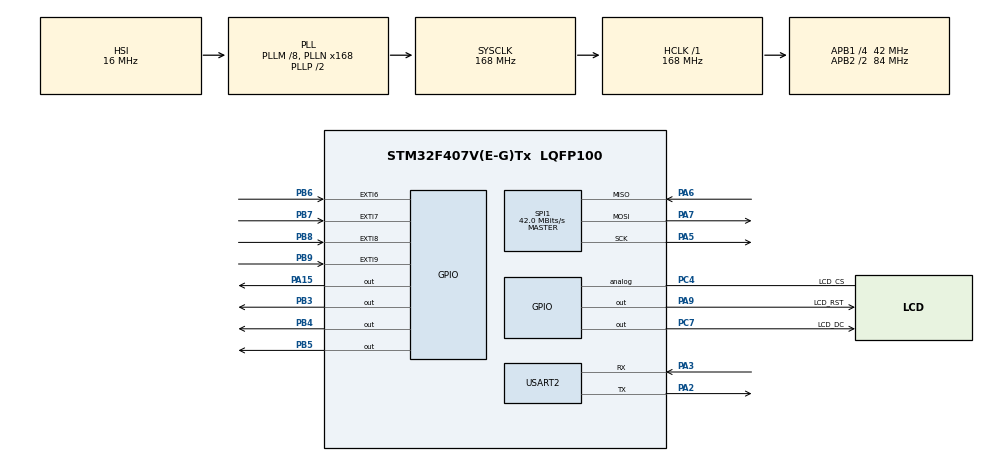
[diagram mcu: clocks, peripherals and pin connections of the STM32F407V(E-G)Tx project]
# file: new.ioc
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Mcu.Family=STM32F4
Mcu.Name=STM32F407V(E-G)Tx
Mcu.Package=LQFP100
NVIC.EXTI9_5_IRQn=true\:0\:0\:false\:false\:true\:true\:true\:true
NVIC.PriorityGroup=NVIC_PRIORITYGROUP_4
PA15.Signal=GPIO_Output
PA2.Mode=Asynchronous
PA2.Signal=USART2_TX
PA3.Mode=Asynchronous
PA3.Signal=USART2_RX
PA5.Mode=Full_Duplex_Master
PA5.Signal=SPI1_SCK
PA6.Mode=Full_Duplex_Master
PA6.Signal=SPI1_MISO
PA7.Mode=Full_Duplex_Master
PA7.Signal=SPI1_MOSI
PA9.GPIO_Label=LCD_RST
PA9.Signal=GPIO_Output
PB3.Signal=GPIO_Output
PB4.Signal=GPIO_Output
PB5.Signal=GPIO_Output
PB6.Signal=GPXTI6
PB7.Signal=GPXTI7
PB8.Signal=GPXTI8
PB9.Signal=GPXTI9
PC4.GPIO_Label=LCD_CS
PC4.Signal=GPIO_Analog
PC7.GPIO_Label=LCD_DC
PC7.GPIO_Speed=GPIO_SPEED_FREQ_HIGH
PC7.Signal=GPIO_Output
PH0-OSC_IN.Mode=HSE-External-Oscillator
PH0-OSC_IN.Signal=RCC_OSC_IN
PH1-OSC_OUT.Mode=HSE-External-Oscillator
PH1-OSC_OUT.Signal=RCC_OSC_OUT
ProjectManager.HeapSize=0x200
ProjectManager.StackSize=0x400
ProjectManager.TargetToolchain=STM32CubeIDE
RCC.48MHZClocksFreq_Value=84000000
RCC.AHBFreq_Value=168000000
RCC.APB1CLKDivider=RCC_HCLK_DIV4
RCC.APB1Freq_Value=42000000
RCC.APB1TimFreq_Value=84000000
RCC.APB2CLKDivider=RCC_HCLK_DIV2
RCC.APB2Freq_Value=84000000
RCC.APB2TimFreq_Value=168000000
RCC.CortexFreq_Value=168000000
RCC.HCLKFreq_Value=168000000
RCC.HSE_VALUE=25000000
RCC.HSI_VALUE=16000000
RCC.LSE_VALUE=32768
RCC.PLLM=8
RCC.PLLN=168
RCC.SYSCLKFreq_VALUE=168000000
RCC.SYSCLKSource=RCC_SYSCLKSOURCE_PLLCLK
RCC.VCOOutputFreq_Value=336000000
SPI1.CalculateBaudRate=42.0 MBits/s
SPI1.Direction=SPI_DIRECTION_2LINES
SPI1.Mode=SPI_MODE_MASTER
SPI1.VirtualType=VM_MASTER
USART2.VirtualMode=VM_ASYNC
board=custom

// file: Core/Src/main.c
/* USER CODE BEGIN Header */
/**
  ******************************************************************************
  * @file           : main.c
  * @brief          : Main program body
  ******************************************************************************
  * @attention
  *
  * Copyright (c) 2023 STMicroelectronics.
  * All rights reserved.
  *
  * This software is licensed under terms that can be found in the LICENSE file
  * in the root directory of this software component.
  * If no LICENSE file comes with this software, it is provided AS-IS.
  *
  ******************************************************************************
  */
/* USER CODE END Header */
#include "main.h"

/* USER CODE BEGIN Includes */
#include "MY_ILI9341.h"
#include  "gameasset.h"
/* USER CODE END Includes */

 SPI_HandleTypeDef hspi1;

UART_HandleTypeDef huart2;

/* USER CODE BEGIN PV */
GPIO_InitTypeDef GPIO_InitStructPrivate = {0};
  uint32_t previousMillis = 0;
  uint32_t currentMillis = 0;
  uint8_t keyPressed = 0;
  uint16_t * currentpossition;
//  uint16_t currentpossition_x = 30;
//  uint16_t currentpossition_y = 120;
#define _CURRENTPOSX 30
#define _CURRENTPOSY 120
/* USER CODE END PV */

void SystemClock_Config(void);
static void MX_GPIO_Init(void);
static void MX_SPI1_Init(void);
static void MX_USART2_UART_Init(void);

void  draw_spaceship(uint16_t x_printing , uint16_t y_printing )
{
	  ILI9341_printImage(x_printing, y_printing, 36, 36, spaceship, 2592);
}

int main(void)
{

  /*Allocation of possition array*/
  currentpossition = calloc(2, sizeof(uint16_t)); // No need to cast uint16_t in C
  currentpossition[0] = _CURRENTPOSX;
  currentpossition[1] = _CURRENTPOSY;

  /* MCU Configuration--------------------------------------------------------*/

  /* Reset of all peripherals, Initializes the Flash interface and the Systick. */
  HAL_Init();

  /* Configure the system clock */
  SystemClock_Config();

  /* Initialize all configured peripherals */
  MX_GPIO_Init();
  MX_SPI1_Init();
  MX_USART2_UART_Init();
  /* USER CODE BEGIN 2 */
  ILI9341_Init(&hspi1,LCD_CS_GPIO_Port, LCD_CS_Pin,LCD_DC_GPIO_Port,LCD_DC_Pin, LCD_RST_GPIO_Port, LCD_RST_Pin);
  ILI9341_setRotation(2);
  ILI9341_Fill(0x10A2);

   HAL_GPIO_WritePin(GPIOA, GPIO_PIN_15, 1);
   HAL_GPIO_WritePin(GPIOB, GPIO_PIN_3, 1);
   HAL_GPIO_WritePin(GPIOB, GPIO_PIN_4, 1);
   HAL_GPIO_WritePin(GPIOB, GPIO_PIN_5, 1);
   ILI9341_printImage(40,40, 260, 150, startingscreen,78000);

  /* USER CODE END 2 */

  /* Infinite loop */
  while (1)
  {

    /* USER CODE BEGIN 3 */
  }
  free(currentpossition);
  /* USER CODE END 3 */
}

void SystemClock_Config(void)
{
  RCC_OscInitTypeDef RCC_OscInitStruct = {0};
  RCC_ClkInitTypeDef RCC_ClkInitStruct = {0};

  /** Configure the main internal regulator output voltage
  */
  __HAL_RCC_PWR_CLK_ENABLE();
  __HAL_PWR_VOLTAGESCALING_CONFIG(PWR_REGULATOR_VOLTAGE_SCALE1);

  /** Initializes the RCC Oscillators according to the specified parameters
  * in the RCC_OscInitTypeDef structure.
  */
  RCC_OscInitStruct.OscillatorType = RCC_OSCILLATORTYPE_HSI;
  RCC_OscInitStruct.HSIState = RCC_HSI_ON;
  RCC_OscInitStruct.HSICalibrationValue = RCC_HSICALIBRATION_DEFAULT;
  RCC_OscInitStruct.PLL.PLLState = RCC_PLL_ON;
  RCC_OscInitStruct.PLL.PLLSource = RCC_PLLSOURCE_HSI;
  RCC_OscInitStruct.PLL.PLLM = 8;
  RCC_OscInitStruct.PLL.PLLN = 168;
  RCC_OscInitStruct.PLL.PLLP = RCC_PLLP_DIV2;
  RCC_OscInitStruct.PLL.PLLQ = 4;
  if (HAL_RCC_OscConfig(&RCC_OscInitStruct) != HAL_OK)
  {
    Error_Handler();
  }

  /** Initializes the CPU, AHB and APB buses clocks
  */
  RCC_ClkInitStruct.ClockType = RCC_CLOCKTYPE_HCLK|RCC_CLOCKTYPE_SYSCLK
                              |RCC_CLOCKTYPE_PCLK1|RCC_CLOCKTYPE_PCLK2;
  RCC_ClkInitStruct.SYSCLKSource = RCC_SYSCLKSOURCE_PLLCLK;
  RCC_ClkInitStruct.AHBCLKDivider = RCC_SYSCLK_DIV1;
  RCC_ClkInitStruct.APB1CLKDivider = RCC_HCLK_DIV4;
  RCC_ClkInitStruct.APB2CLKDivider = RCC_HCLK_DIV2;

  if (HAL_RCC_ClockConfig(&RCC_ClkInitStruct, FLASH_LATENCY_5) != HAL_OK)
  {
    Error_Handler();
  }
}

static void MX_SPI1_Init(void)
{

  /* SPI1 parameter configuration*/
  hspi1.Instance = SPI1;
  hspi1.Init.Mode = SPI_MODE_MASTER;
  hspi1.Init.Direction = SPI_DIRECTION_2LINES;
  hspi1.Init.DataSize = SPI_DATASIZE_8BIT;
  hspi1.Init.CLKPolarity = SPI_POLARITY_LOW;
  hspi1.Init.CLKPhase = SPI_PHASE_1EDGE;
  hspi1.Init.NSS = SPI_NSS_SOFT;
  hspi1.Init.BaudRatePrescaler = SPI_BAUDRATEPRESCALER_2;
  hspi1.Init.FirstBit = SPI_FIRSTBIT_MSB;
  hspi1.Init.TIMode = SPI_TIMODE_DISABLE;
  hspi1.Init.CRCCalculation = SPI_CRCCALCULATION_DISABLE;
  hspi1.Init.CRCPolynomial = 10;
  if (HAL_SPI_Init(&hspi1) != HAL_OK)
  {
    Error_Handler();
  }

}

static void MX_USART2_UART_Init(void)
{

  huart2.Instance = USART2;
  huart2.Init.BaudRate = 115200;
  huart2.Init.WordLength = UART_WORDLENGTH_8B;
  huart2.Init.StopBits = UART_STOPBITS_1;
  huart2.Init.Parity = UART_PARITY_NONE;
  huart2.Init.Mode = UART_MODE_TX_RX;
  huart2.Init.HwFlowCtl = UART_HWCONTROL_NONE;
  huart2.Init.OverSampling = UART_OVERSAMPLING_16;
  if (HAL_UART_Init(&huart2) != HAL_OK)
  {
    Error_Handler();
  }

}

static void MX_GPIO_Init(void)
{
  GPIO_InitTypeDef GPIO_InitStruct = {0};

  /* GPIO Ports Clock Enable */
  __HAL_RCC_GPIOH_CLK_ENABLE();
  __HAL_RCC_GPIOA_CLK_ENABLE();
  __HAL_RCC_GPIOC_CLK_ENABLE();
  __HAL_RCC_GPIOB_CLK_ENABLE();

  /*Configure GPIO pin Output Level */
  HAL_GPIO_WritePin(LCD_DC_GPIO_Port, LCD_DC_Pin, GPIO_PIN_RESET);

  /*Configure GPIO pin Output Level */
  HAL_GPIO_WritePin(GPIOA, LCD_RST_Pin|GPIO_PIN_15, GPIO_PIN_RESET);

  /*Configure GPIO pin Output Level */
  HAL_GPIO_WritePin(GPIOB, GPIO_PIN_3|GPIO_PIN_4|GPIO_PIN_5, GPIO_PIN_RESET);

  /*Configure GPIO pin : LCD_CS_Pin */
  GPIO_InitStruct.Pin = LCD_CS_Pin;
  GPIO_InitStruct.Mode = GPIO_MODE_ANALOG;
  GPIO_InitStruct.Pull = GPIO_NOPULL;
  HAL_GPIO_Init(LCD_CS_GPIO_Port, &GPIO_InitStruct);

  /*Configure GPIO pin : LCD_DC_Pin */
  GPIO_InitStruct.Pin = LCD_DC_Pin;
  GPIO_InitStruct.Mode = GPIO_MODE_OUTPUT_PP;
  GPIO_InitStruct.Pull = GPIO_NOPULL;
  GPIO_InitStruct.Speed = GPIO_SPEED_FREQ_HIGH;
  HAL_GPIO_Init(LCD_DC_GPIO_Port, &GPIO_InitStruct);

  /*Configure GPIO pins : LCD_RST_Pin PA15 */
  GPIO_InitStruct.Pin = LCD_RST_Pin|GPIO_PIN_15;
  GPIO_InitStruct.Mode = GPIO_MODE_OUTPUT_PP;
  GPIO_InitStruct.Pull = GPIO_NOPULL;
  GPIO_InitStruct.Speed = GPIO_SPEED_FREQ_LOW;
  HAL_GPIO_Init(GPIOA, &GPIO_InitStruct);

  /*Configure GPIO pins : PB3 PB4 PB5 */
  GPIO_InitStruct.Pin = GPIO_PIN_3|GPIO_PIN_4|GPIO_PIN_5;
  GPIO_InitStruct.Mode = GPIO_MODE_OUTPUT_PP;
  GPIO_InitStruct.Pull = GPIO_NOPULL;
  GPIO_InitStruct.Speed = GPIO_SPEED_FREQ_LOW;
  HAL_GPIO_Init(GPIOB, &GPIO_InitStruct);

  /*Configure GPIO pins : PB6 PB7 PB8 PB9 */
  GPIO_InitStruct.Pin = GPIO_PIN_6|GPIO_PIN_7|GPIO_PIN_8|GPIO_PIN_9;
  GPIO_InitStruct.Mode = GPIO_MODE_IT_RISING;
  GPIO_InitStruct.Pull = GPIO_NOPULL;
  HAL_GPIO_Init(GPIOB, &GPIO_InitStruct);

  /* EXTI interrupt init*/
  HAL_NVIC_SetPriority(EXTI9_5_IRQn, 0, 0);
  HAL_NVIC_EnableIRQ(EXTI9_5_IRQn);

}

/* USER CODE BEGIN 4 */

void HAL_GPIO_EXTI_Callback(uint16_t GPIO_Pin)
{
  currentMillis = HAL_GetTick();
  if (currentMillis - previousMillis > 10) {
    /*Configure GPIO pins : PB6 PB7 PB8 PB9 to GPIO_INPUT*/
    GPIO_InitStructPrivate.Pin = GPIO_PIN_6|GPIO_PIN_7|GPIO_PIN_8|GPIO_PIN_9;
    GPIO_InitStructPrivate.Mode = GPIO_MODE_INPUT;
    GPIO_InitStructPrivate.Pull = GPIO_NOPULL;
    GPIO_InitStructPrivate.Speed = GPIO_SPEED_FREQ_LOW;
    HAL_GPIO_Init(GPIOB, &GPIO_InitStructPrivate);

    HAL_GPIO_WritePin(GPIOA, GPIO_PIN_15, 1);
    HAL_GPIO_WritePin(GPIOB, GPIO_PIN_3, 0);
    HAL_GPIO_WritePin(GPIOB, GPIO_PIN_4, 0);
    HAL_GPIO_WritePin(GPIOB, GPIO_PIN_5, 0);
    if(GPIO_Pin == GPIO_PIN_6 && HAL_GPIO_ReadPin(GPIOB, GPIO_PIN_6))
    {
      keyPressed = 68; //ASCII value of D
    }
    else if(GPIO_Pin == GPIO_PIN_7 && HAL_GPIO_ReadPin(GPIOB, GPIO_PIN_7))
    {
      keyPressed = 67; //ASCII value of C
      ILI9341_Fill(0x10A2);
      currentpossition[0] = _CURRENTPOSX;
      currentpossition[1] = _CURRENTPOSY;
      draw_spaceship(30,120);
    }
    else if(GPIO_Pin == GPIO_PIN_8 && HAL_GPIO_ReadPin(GPIOB, GPIO_PIN_8))
    {
      keyPressed = 66; //ASCII value of B
    }
    else if(GPIO_Pin == GPIO_PIN_9 && HAL_GPIO_ReadPin(GPIOB, GPIO_PIN_9))
    {
      keyPressed = 65; //ASCII value of A
    }

    HAL_GPIO_WritePin(GPIOA, GPIO_PIN_15, 0);
    HAL_GPIO_WritePin(GPIOB, GPIO_PIN_3, 1);
    HAL_GPIO_WritePin(GPIOB, GPIO_PIN_4, 0);
    HAL_GPIO_WritePin(GPIOB, GPIO_PIN_5, 0);
    if(GPIO_Pin == GPIO_PIN_6 && HAL_GPIO_ReadPin(GPIOB, GPIO_PIN_6))
    {
      keyPressed = 35; //ASCII value of #
    }
    else if(GPIO_Pin == GPIO_PIN_7 && HAL_GPIO_ReadPin(GPIOB, GPIO_PIN_7))
    {
      keyPressed = 57; //ASCII value of 9
    }
    else if(GPIO_Pin == GPIO_PIN_8 && HAL_GPIO_ReadPin(GPIOB, GPIO_PIN_8))
    {
      keyPressed = 54; //ASCII value of 6
    }
    else if(GPIO_Pin == GPIO_PIN_9 && HAL_GPIO_ReadPin(GPIOB, GPIO_PIN_9))
    {
      keyPressed = 51; //ASCII value of 3
    }

    HAL_GPIO_WritePin(GPIOA, GPIO_PIN_15, 0);
    HAL_GPIO_WritePin(GPIOB, GPIO_PIN_3, 0);
    HAL_GPIO_WritePin(GPIOB, GPIO_PIN_4, 1);
    HAL_GPIO_WritePin(GPIOB, GPIO_PIN_5, 0);
    if(GPIO_Pin == GPIO_PIN_6 && HAL_GPIO_ReadPin(GPIOB, GPIO_PIN_6))
    {
      keyPressed = 48; //ASCII value of 0
    }
    else if(GPIO_Pin == GPIO_PIN_7 && HAL_GPIO_ReadPin(GPIOB, GPIO_PIN_7))
    {
      keyPressed = 56; //ASCII value of 8
    }
    else if(GPIO_Pin == GPIO_PIN_8 && HAL_GPIO_ReadPin(GPIOB, GPIO_PIN_8))
    {
      keyPressed = 53; //ASCII value of 5
    }
    else if(GPIO_Pin == GPIO_PIN_9 && HAL_GPIO_ReadPin(GPIOB, GPIO_PIN_9))
    {
      keyPressed = 50; //ASCII value of 2
    }

    HAL_GPIO_WritePin(GPIOA, GPIO_PIN_15, 0);
    HAL_GPIO_WritePin(GPIOB, GPIO_PIN_3, 0);
    HAL_GPIO_WritePin(GPIOB, GPIO_PIN_4, 0);
    HAL_GPIO_WritePin(GPIOB, GPIO_PIN_5, 1);
    if(GPIO_Pin == GPIO_PIN_6 && HAL_GPIO_ReadPin(GPIOB, GPIO_PIN_6))
    {
      keyPressed = 42; //ASCII value of *
    }
    else if(GPIO_Pin == GPIO_PIN_7 && HAL_GPIO_ReadPin(GPIOB, GPIO_PIN_7))
    {
      keyPressed = 55; //ASCII value of 7
      currentpossition[0]= currentpossition[0] + 5;
      draw_spaceship(currentpossition[0], currentpossition[1]);

    }
    else if(GPIO_Pin == GPIO_PIN_8 && HAL_GPIO_ReadPin(GPIOB, GPIO_PIN_8))
    {
      keyPressed = 52; //ASCII value of 4
      currentpossition[1] = currentpossition[1] + 5;
      draw_spaceship(currentpossition[0], currentpossition[1]);

    }
    else if(GPIO_Pin == GPIO_PIN_9 && HAL_GPIO_ReadPin(GPIOB, GPIO_PIN_9))
    {
      keyPressed = 49; //ASCII value of 1
    }

    HAL_GPIO_WritePin(GPIOA, GPIO_PIN_15, 1);
    HAL_GPIO_WritePin(GPIOB, GPIO_PIN_3, 1);
    HAL_GPIO_WritePin(GPIOB, GPIO_PIN_4, 1);
    HAL_GPIO_WritePin(GPIOB, GPIO_PIN_5, 1);
    /*Configure GPIO pins : PB6 PB7 PB8 PB9 back to EXTI*/
    GPIO_InitStructPrivate.Mode = GPIO_MODE_IT_RISING;
    GPIO_InitStructPrivate.Pull = GPIO_PULLDOWN;
    HAL_GPIO_Init(GPIOB, &GPIO_InitStructPrivate);
    previousMillis = currentMillis;
  }
}
/* USER CODE END 4 */

void Error_Handler(void)
{
  __disable_irq();
  while (1)
  {
  }
}
